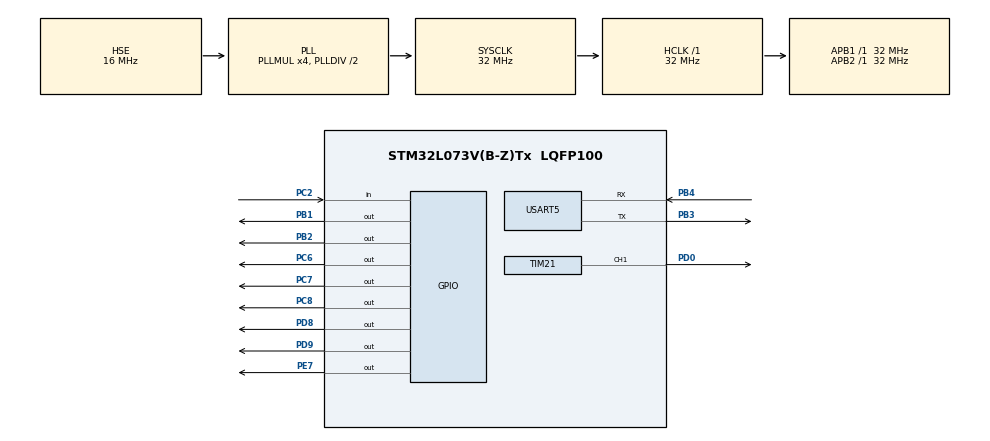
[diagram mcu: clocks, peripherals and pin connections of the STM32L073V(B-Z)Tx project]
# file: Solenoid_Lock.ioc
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Mcu.Family=STM32L0
Mcu.Name=STM32L073V(B-Z)Tx
Mcu.Package=LQFP100
NVIC.USART4_5_IRQn=true\:0\:0\:false\:false\:true\:true\:true\:true
PA13.Mode=Serial_Wire
PA13.Signal=SYS_SWDIO
PA14.Mode=Serial_Wire
PA14.Signal=SYS_SWCLK
PB1.Signal=GPIO_Output
PB2.Signal=GPIO_Output
PB3.Mode=Asynchronous
PB3.Signal=USART5_TX
PB4.Mode=Asynchronous
PB4.Signal=USART5_RX
PC2.Signal=GPIO_Input
PC6.Signal=GPIO_Output
PC7.Signal=GPIO_Output
PC8.Signal=GPIO_Output
PD0.Signal=S_TIM21_CH1
PD8.Signal=GPIO_Output
PD9.Signal=GPIO_Output
PE7.Signal=GPIO_Output
PH0-OSC_IN.Mode=HSE-External-Oscillator
PH0-OSC_IN.Signal=RCC_OSC_IN
PH1-OSC_OUT.Mode=HSE-External-Oscillator
PH1-OSC_OUT.Signal=RCC_OSC_OUT
ProjectManager.HeapSize=0x200
ProjectManager.StackSize=0x400
ProjectManager.TargetToolchain=STM32CubeIDE
RCC.AHBFreq_Value=32000000
RCC.APB1Freq_Value=32000000
RCC.APB1TimFreq_Value=32000000
RCC.APB2Freq_Value=32000000
RCC.APB2TimFreq_Value=32000000
RCC.HCLKFreq_Value=32000000
RCC.HSE_VALUE=16000000
RCC.HSI16_VALUE=16000000
RCC.HSI48_VALUE=48000000
RCC.HSI_VALUE=16000000
RCC.LSE_VALUE=32768
RCC.MSI_VALUE=2097000
RCC.PLLMUL=RCC_PLLMUL_4
RCC.PLLSourceVirtual=RCC_PLLSOURCE_HSE
RCC.SYSCLKFreq_VALUE=32000000
RCC.SYSCLKSource=RCC_SYSCLKSOURCE_PLLCLK
RCC.VCOOutputFreq_Value=64000000
SH.S_TIM21_CH1.0=TIM21_CH1,PWM Generation1 CH1
TIM21.Channel-PWM\ Generation1\ CH1=TIM_CHANNEL_1
TIM21.Period=100-1
TIM21.Prescaler=32-1
USART5.VirtualMode-Asynchronous=VM_ASYNC
VP_TIM21_VS_ClockSourceINT.Mode=Internal
board=custom

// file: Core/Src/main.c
/* USER CODE BEGIN Header */
/**
  ******************************************************************************
  * @file           : main.c
  * @brief          : Main program body
  ******************************************************************************
  * @attention
  *
  * Copyright (c) 2024 STMicroelectronics.
  * All rights reserved.
  *
  * This software is licensed under terms that can be found in the LICENSE file
  * in the root directory of this software component.
  * If no LICENSE file comes with this software, it is provided AS-IS.
  *
  ******************************************************************************
  */
/* USER CODE END Header */
#include "main.h"

/* USER CODE BEGIN Includes */

#define CONT_CNTRL_1_PORT   GPIO_PORT_D
#define LOCK_CNTRL_1_PORT   GPIO_PORT_D
#define FB1_PORT            GPIO_PORT_D

#define CONT_CNTRL_1_PIN   GPIO_PIN_8
#define LOCK_CNTRL_1_PIN   GPIO_PIN_9
#define FB1_PIN            GPIO_PIN_0

/* USER CODE END Includes */

TIM_HandleTypeDef htim21;

UART_HandleTypeDef huart5;

void SystemClock_Config(void);
static void MX_GPIO_Init(void);
static void MX_TIM21_Init(void);
static void MX_USART5_UART_Init(void);

/* USER CODE BEGIN 0 */

void solenoid_release (void)
{
	HAL_GPIO_WritePin(GPIOD, GPIO_PIN_8, SET);
    HAL_GPIO_WritePin(GPIOD, GPIO_PIN_9, SET);

    for(int i = 0; i<=100; i++)
    {
    	htim21.Instance->CCR1 = i;
        HAL_Delay(10);
    }

//    HAL_GPIO_WritePin(GPIOD, GPIO_PIN_8, RESET);
//	HAL_GPIO_WritePin(GPIOD, GPIO_PIN_9, RESET);
}

void solenoid_lock (void)
{
	HAL_GPIO_WritePin(GPIOD, GPIO_PIN_8, SET);
    HAL_GPIO_WritePin(GPIOD, GPIO_PIN_9, RESET);

    for(int i = 0; i<=100; i++)
    {
    	htim21.Instance->CCR1 = i;
        HAL_Delay(10);
    }

//	HAL_GPIO_WritePin(GPIOD, GPIO_PIN_8, RESET);
}
/* USER CODE END 0 */

int main(void)
{

  /* MCU Configuration--------------------------------------------------------*/

  /* Reset of all peripherals, Initializes the Flash interface and the Systick. */
  HAL_Init();

  /* Configure the system clock */
  SystemClock_Config();

  /* Initialize all configured peripherals */
  MX_GPIO_Init();
  MX_TIM21_Init();
  MX_USART5_UART_Init();
  /* USER CODE BEGIN 2 */
  HAL_TIM_PWM_Start(&htim21, TIM_CHANNEL_1);

//  solenoid_release ();
//  HAL_Delay(3000);
//  solenoid_lock ();
//  HAL_Delay(3000);

  /* USER CODE END 2 */

  /* Infinite loop */
  while (1)
  {

    /* USER CODE BEGIN 3 */
//	  if (HAL_GPIO_ReadPin(GPIOC, GPIO_PIN_2) == GPIO_PIN_RESET)
//	  {
//		  HAL_GPIO_WritePin(GPIOB, GPIO_PIN_1, SET);
//		  HAL_GPIO_WritePin(GPIOB, GPIO_PIN_2, RESET);
//		  HAL_GPIO_WritePin(GPIOE, GPIO_PIN_7, RESET);
//		  solenoid_release ();
//		  HAL_Delay(10);
//	  }
//	  else
//	  {
//		  HAL_GPIO_WritePin(GPIOB, GPIO_PIN_1, SET);
//		  HAL_GPIO_WritePin(GPIOB, GPIO_PIN_2, SET);
//		  HAL_GPIO_WritePin(GPIOE, GPIO_PIN_7, SET);
//		  solenoid_lock ();
//		  HAL_Delay(10);
//	  }

	    solenoid_release ();
	    HAL_Delay(2000);
	    solenoid_lock ();
	    HAL_Delay(2000);

//
//	  solenoid_release ();
//	  HAL_Delay(3000);
//	  solenoid_lock ();
//	  HAL_Delay(3000);

//
//	  HAL_GPIO_WritePin(GPIOD, GPIO_PIN_8, SET);
//	  HAL_GPIO_WritePin(GPIOD, GPIO_PIN_9, SET);
//
//	  htim21.Instance->CCR1 = 95;
//	  HAL_Delay(100);
//	  htim21.Instance->CCR1 = 90;
//	  HAL_Delay(100);
//	  htim21.Instance->CCR1 = 85;
//	  HAL_Delay(100);
//	  htim21.Instance->CCR1 = 80;
//	  HAL_Delay(100);
//	  htim21.Instance->CCR1 = 75;
//	  HAL_Delay(100);
//	  htim21.Instance->CCR1 = 70;
//	  HAL_Delay(100);
//	  htim21.Instance->CCR1 = 65;
//	  HAL_Delay(100);
//	  htim21.Instance->CCR1 = 60;
//	  HAL_Delay(100);
//	  htim21.Instance->CCR1 = 55;
//	  HAL_Delay(100);
//	  htim21.Instance->CCR1 = 50;
//	  HAL_Delay(100);
//	  htim21.Instance->CCR1 = 45;
//	  HAL_Delay(100);
//	  htim21.Instance->CCR1 = 40;
//	  HAL_Delay(100);
//	  htim21.Instance->CCR1 = 35;
//	  HAL_Delay(100);
//	  htim21.Instance->CCR1 = 30;
//	  HAL_Delay(100);
//	  htim21.Instance->CCR1 = 25;
//	  HAL_Delay(100);
//	  htim21.Instance->CCR1 = 20;
//	  HAL_Delay(100);
//	  htim21.Instance->CCR1 = 15;
//	  HAL_Delay(100);
//	  htim21.Instance->CCR1 = 10;
//	  HAL_Delay(100);
//	  htim21.Instance->CCR1 = 5;
//	  HAL_Delay(100);
//	  htim21.Instance->CCR1 = 0;
//	  HAL_Delay(100);
//
//	  HAL_GPIO_WritePin(GPIOD, GPIO_PIN_8, RESET);
//	  HAL_GPIO_WritePin(GPIOD, GPIO_PIN_9, RESET);
//
//	  HAL_Delay(5000);
//
//	  HAL_GPIO_WritePin(GPIOD, GPIO_PIN_8, SET);
//	  HAL_GPIO_WritePin(GPIOD, GPIO_PIN_9, SET);
//
//	  htim21.Instance->CCR1 = 5;
//	  HAL_Delay(100);
//	  htim21.Instance->CCR1 = 10;
//	  HAL_Delay(100);
//	  htim21.Instance->CCR1 = 15;
//	  HAL_Delay(100);
//	  htim21.Instance->CCR1 = 20;
//	  HAL_Delay(100);
//	  htim21.Instance->CCR1 = 25;
//	  HAL_Delay(100);
//	  htim21.Instance->CCR1 = 30;
//	  HAL_Delay(100);
//	  htim21.Instance->CCR1 = 35;
//	  HAL_Delay(100);
//	  htim21.Instance->CCR1 = 40;
//	  HAL_Delay(100);
//	  htim21.Instance->CCR1 = 45;
//	  HAL_Delay(100);
//	  htim21.Instance->CCR1 = 50;
//	  HAL_Delay(100);
//	  htim21.Instance->CCR1 = 55;
//	  HAL_Delay(100);
//	  htim21.Instance->CCR1 = 60;
//	  HAL_Delay(100);
//	  htim21.Instance->CCR1 = 65;
//	  HAL_Delay(100);
//	  htim21.Instance->CCR1 = 70;
//	  HAL_Delay(100);
//	  htim21.Instance->CCR1 = 75;
//	  HAL_Delay(100);
//	  htim21.Instance->CCR1 = 80;
//	  HAL_Delay(100);
//	  htim21.Instance->CCR1 = 85;
//	  HAL_Delay(100);
//	  htim21.Instance->CCR1 = 90;
//	  HAL_Delay(100);
//	  htim21.Instance->CCR1 = 95;
//	  HAL_Delay(100);
//	  htim21.Instance->CCR1 = 100;
//	  HAL_Delay(100);
//
//	  HAL_GPIO_WritePin(GPIOD, GPIO_PIN_8, RESET);
//	  HAL_GPIO_WritePin(GPIOD, GPIO_PIN_9, RESET);
//
//	  HAL_Delay(5000);

  }
  /* USER CODE END 3 */
}

void SystemClock_Config(void)
{
  RCC_OscInitTypeDef RCC_OscInitStruct = {0};
  RCC_ClkInitTypeDef RCC_ClkInitStruct = {0};

  /** Configure the main internal regulator output voltage
  */
  __HAL_PWR_VOLTAGESCALING_CONFIG(PWR_REGULATOR_VOLTAGE_SCALE1);

  /** Initializes the RCC Oscillators according to the specified parameters
  * in the RCC_OscInitTypeDef structure.
  */
  RCC_OscInitStruct.OscillatorType = RCC_OSCILLATORTYPE_HSE;
  RCC_OscInitStruct.HSEState = RCC_HSE_ON;
  RCC_OscInitStruct.PLL.PLLState = RCC_PLL_ON;
  RCC_OscInitStruct.PLL.PLLSource = RCC_PLLSOURCE_HSE;
  RCC_OscInitStruct.PLL.PLLMUL = RCC_PLLMUL_4;
  RCC_OscInitStruct.PLL.PLLDIV = RCC_PLLDIV_2;
  if (HAL_RCC_OscConfig(&RCC_OscInitStruct) != HAL_OK)
  {
    Error_Handler();
  }

  /** Initializes the CPU, AHB and APB buses clocks
  */
  RCC_ClkInitStruct.ClockType = RCC_CLOCKTYPE_HCLK|RCC_CLOCKTYPE_SYSCLK
                              |RCC_CLOCKTYPE_PCLK1|RCC_CLOCKTYPE_PCLK2;
  RCC_ClkInitStruct.SYSCLKSource = RCC_SYSCLKSOURCE_PLLCLK;
  RCC_ClkInitStruct.AHBCLKDivider = RCC_SYSCLK_DIV1;
  RCC_ClkInitStruct.APB1CLKDivider = RCC_HCLK_DIV1;
  RCC_ClkInitStruct.APB2CLKDivider = RCC_HCLK_DIV1;

  if (HAL_RCC_ClockConfig(&RCC_ClkInitStruct, FLASH_LATENCY_1) != HAL_OK)
  {
    Error_Handler();
  }
}

static void MX_TIM21_Init(void)
{

  TIM_ClockConfigTypeDef sClockSourceConfig = {0};
  TIM_MasterConfigTypeDef sMasterConfig = {0};
  TIM_OC_InitTypeDef sConfigOC = {0};

  htim21.Instance = TIM21;
  htim21.Init.Prescaler = 32-1;
  htim21.Init.CounterMode = TIM_COUNTERMODE_UP;
  htim21.Init.Period = 100-1;
  htim21.Init.ClockDivision = TIM_CLOCKDIVISION_DIV1;
  htim21.Init.AutoReloadPreload = TIM_AUTORELOAD_PRELOAD_DISABLE;
  if (HAL_TIM_Base_Init(&htim21) != HAL_OK)
  {
    Error_Handler();
  }
  sClockSourceConfig.ClockSource = TIM_CLOCKSOURCE_INTERNAL;
  if (HAL_TIM_ConfigClockSource(&htim21, &sClockSourceConfig) != HAL_OK)
  {
    Error_Handler();
  }
  if (HAL_TIM_PWM_Init(&htim21) != HAL_OK)
  {
    Error_Handler();
  }
  sMasterConfig.MasterOutputTrigger = TIM_TRGO_RESET;
  sMasterConfig.MasterSlaveMode = TIM_MASTERSLAVEMODE_DISABLE;
  if (HAL_TIMEx_MasterConfigSynchronization(&htim21, &sMasterConfig) != HAL_OK)
  {
    Error_Handler();
  }
  sConfigOC.OCMode = TIM_OCMODE_PWM1;
  sConfigOC.Pulse = 0;
  sConfigOC.OCPolarity = TIM_OCPOLARITY_HIGH;
  sConfigOC.OCFastMode = TIM_OCFAST_DISABLE;
  if (HAL_TIM_PWM_ConfigChannel(&htim21, &sConfigOC, TIM_CHANNEL_1) != HAL_OK)
  {
    Error_Handler();
  }
  HAL_TIM_MspPostInit(&htim21);

}

static void MX_USART5_UART_Init(void)
{

  huart5.Instance = USART5;
  huart5.Init.BaudRate = 115200;
  huart5.Init.WordLength = UART_WORDLENGTH_8B;
  huart5.Init.StopBits = UART_STOPBITS_1;
  huart5.Init.Parity = UART_PARITY_NONE;
  huart5.Init.Mode = UART_MODE_TX_RX;
  huart5.Init.HwFlowCtl = UART_HWCONTROL_NONE;
  huart5.Init.OverSampling = UART_OVERSAMPLING_16;
  huart5.Init.OneBitSampling = UART_ONE_BIT_SAMPLE_DISABLE;
  huart5.AdvancedInit.AdvFeatureInit = UART_ADVFEATURE_NO_INIT;
  if (HAL_UART_Init(&huart5) != HAL_OK)
  {
    Error_Handler();
  }

}

static void MX_GPIO_Init(void)
{
  GPIO_InitTypeDef GPIO_InitStruct = {0};

  /* GPIO Ports Clock Enable */
  __HAL_RCC_GPIOH_CLK_ENABLE();
  __HAL_RCC_GPIOC_CLK_ENABLE();
  __HAL_RCC_GPIOB_CLK_ENABLE();
  __HAL_RCC_GPIOE_CLK_ENABLE();
  __HAL_RCC_GPIOD_CLK_ENABLE();
  __HAL_RCC_GPIOA_CLK_ENABLE();

  /*Configure GPIO pin Output Level */
  HAL_GPIO_WritePin(GPIOB, GPIO_PIN_1|GPIO_PIN_2, GPIO_PIN_RESET);

  /*Configure GPIO pin Output Level */
  HAL_GPIO_WritePin(GPIOE, GPIO_PIN_7, GPIO_PIN_RESET);

  /*Configure GPIO pin Output Level */
  HAL_GPIO_WritePin(GPIOD, GPIO_PIN_8|GPIO_PIN_9, GPIO_PIN_RESET);

  /*Configure GPIO pin Output Level */
  HAL_GPIO_WritePin(GPIOC, GPIO_PIN_6|GPIO_PIN_7|GPIO_PIN_8, GPIO_PIN_RESET);

  /*Configure GPIO pin : PC2 */
  GPIO_InitStruct.Pin = GPIO_PIN_2;
  GPIO_InitStruct.Mode = GPIO_MODE_INPUT;
  GPIO_InitStruct.Pull = GPIO_NOPULL;
  HAL_GPIO_Init(GPIOC, &GPIO_InitStruct);

  /*Configure GPIO pins : PB1 PB2 */
  GPIO_InitStruct.Pin = GPIO_PIN_1|GPIO_PIN_2;
  GPIO_InitStruct.Mode = GPIO_MODE_OUTPUT_PP;
  GPIO_InitStruct.Pull = GPIO_NOPULL;
  GPIO_InitStruct.Speed = GPIO_SPEED_FREQ_LOW;
  HAL_GPIO_Init(GPIOB, &GPIO_InitStruct);

  /*Configure GPIO pin : PE7 */
  GPIO_InitStruct.Pin = GPIO_PIN_7;
  GPIO_InitStruct.Mode = GPIO_MODE_OUTPUT_PP;
  GPIO_InitStruct.Pull = GPIO_NOPULL;
  GPIO_InitStruct.Speed = GPIO_SPEED_FREQ_LOW;
  HAL_GPIO_Init(GPIOE, &GPIO_InitStruct);

  /*Configure GPIO pins : PD8 PD9 */
  GPIO_InitStruct.Pin = GPIO_PIN_8|GPIO_PIN_9;
  GPIO_InitStruct.Mode = GPIO_MODE_OUTPUT_PP;
  GPIO_InitStruct.Pull = GPIO_NOPULL;
  GPIO_InitStruct.Speed = GPIO_SPEED_FREQ_LOW;
  HAL_GPIO_Init(GPIOD, &GPIO_InitStruct);

  /*Configure GPIO pins : PC6 PC7 PC8 */
  GPIO_InitStruct.Pin = GPIO_PIN_6|GPIO_PIN_7|GPIO_PIN_8;
  GPIO_InitStruct.Mode = GPIO_MODE_OUTPUT_PP;
  GPIO_InitStruct.Pull = GPIO_NOPULL;
  GPIO_InitStruct.Speed = GPIO_SPEED_FREQ_LOW;
  HAL_GPIO_Init(GPIOC, &GPIO_InitStruct);

}

void Error_Handler(void)
{
  __disable_irq();
  while (1)
  {
  }
}
